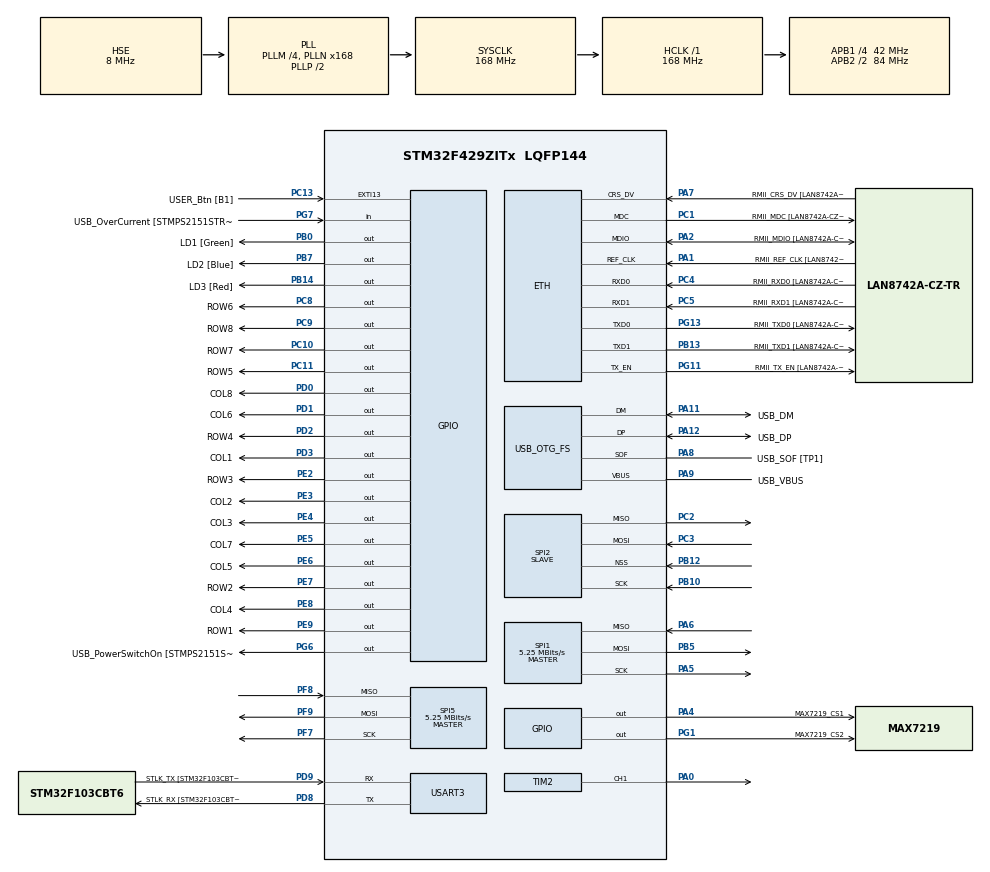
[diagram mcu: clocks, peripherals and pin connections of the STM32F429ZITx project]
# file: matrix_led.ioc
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ETH.MediaInterface=HAL_ETH_RMII_MODE
ETH.PHY_Name=LAN8742A_PHY_ADDRESS
ETH.PHY_Value=0
ETH.PhyAddress=0
FREERTOS.Tasks01=defaultTask,0,256,StartDefaultTask,Default,NULL,Dynamic,NULL,NULL;RearTask,2,128,StartRearTask,Default,NULL,Dynamic,NULL,NULL
Mcu.Family=STM32F4
Mcu.Name=STM32F429ZITx
Mcu.Package=LQFP144
NVIC.PriorityGroup=NVIC_PRIORITYGROUP_4
NVIC.SPI1_IRQn=true\:5\:0\:false\:false\:true\:true\:true\:true\:true
NVIC.SPI2_IRQn=true\:5\:0\:false\:false\:true\:true\:true\:true\:true
NVIC.TIM1_UP_TIM10_IRQn=true\:15\:0\:false\:false\:true\:false\:false\:true\:true
NVIC.TIM2_IRQn=true\:6\:0\:true\:false\:true\:true\:true\:true\:true
NVIC.TimeBase=TIM1_UP_TIM10_IRQn
NVIC.TimeBaseIP=TIM1
NVIC.USART3_IRQn=true\:6\:0\:true\:false\:true\:true\:true\:true\:true
PA0/WKUP.Signal=S_TIM2_CH1_ETR
PA1.GPIO_Label=RMII_REF_CLK [LAN8742A-CZ-TR_REFCLK0]
PA1.Mode=RMII
PA1.Signal=ETH_REF_CLK
PA10.GPIO_Label=USB_ID
PA10.Signal=USB_OTG_FS_ID
PA11.GPIO_Label=USB_DM
PA11.Mode=Device_Only
PA11.Signal=USB_OTG_FS_DM
PA12.GPIO_Label=USB_DP
PA12.Mode=Device_Only
PA12.Signal=USB_OTG_FS_DP
PA13.GPIO_Label=TMS
PA13.Mode=Serial_Wire
PA13.Signal=SYS_JTMS-SWDIO
PA14.GPIO_Label=TCK
PA14.Mode=Serial_Wire
PA14.Signal=SYS_JTCK-SWCLK
PA2.GPIO_Label=RMII_MDIO [LAN8742A-CZ-TR_MDIO]
PA2.Mode=RMII
PA2.Signal=ETH_MDIO
PA4.GPIO_Label=MAX7219_CS1
PA4.Signal=GPIO_Output
PA5.Mode=Full_Duplex_Master
PA5.Signal=SPI1_SCK
PA6.Mode=Full_Duplex_Master
PA6.Signal=SPI1_MISO
PA7.GPIO_Label=RMII_CRS_DV [LAN8742A-CZ-TR_CRS_DV]
PA7.Mode=RMII
PA7.Signal=ETH_CRS_DV
PA8.GPIO_Label=USB_SOF [TP1]
PA8.Mode=Activate_SOF_FS
PA8.Signal=USB_OTG_FS_SOF
PA9.GPIO_Label=USB_VBUS
PA9.Mode=Activate_VBUS
PA9.Signal=USB_OTG_FS_VBUS
PB0.GPIO_Label=LD1 [Green]
PB0.Signal=GPIO_Output
PB10.Mode=Full_Duplex_Slave
PB10.Signal=SPI2_SCK
PB12.Mode=NSS_Signal_Hard_Input
PB12.Signal=SPI2_NSS
PB13.GPIO_Label=RMII_TXD1 [LAN8742A-CZ-TR_TXD1]
PB13.Mode=RMII
PB13.Signal=ETH_TXD1
PB14.GPIO_Label=LD3 [Red]
PB14.Signal=GPIO_Output
PB5.Mode=Full_Duplex_Master
PB5.Signal=SPI1_MOSI
PB7.GPIO_Label=LD2 [Blue]
PB7.Signal=GPIO_Output
PC1.GPIO_Label=RMII_MDC [LAN8742A-CZ-TR_MDC]
PC1.Mode=RMII
PC1.Signal=ETH_MDC
PC10.GPIO_Label=ROW7
PC10.Signal=GPIO_Output
PC11.GPIO_Label=ROW5
PC11.Signal=GPIO_Output
PC13.GPIO_Label=USER_Btn [B1]
PC13.Signal=GPXTI13
PC14/OSC32_IN.Mode=LSE-External-Oscillator
PC14/OSC32_IN.Signal=RCC_OSC32_IN
PC15/OSC32_OUT.Mode=LSE-External-Oscillator
PC15/OSC32_OUT.Signal=RCC_OSC32_OUT
PC2.Mode=Full_Duplex_Slave
PC2.Signal=SPI2_MISO
PC3.Mode=Full_Duplex_Slave
PC3.Signal=SPI2_MOSI
PC4.GPIO_Label=RMII_RXD0 [LAN8742A-CZ-TR_RXD0]
PC4.Mode=RMII
PC4.Signal=ETH_RXD0
PC5.GPIO_Label=RMII_RXD1 [LAN8742A-CZ-TR_RXD1]
PC5.Mode=RMII
PC5.Signal=ETH_RXD1
PC8.GPIO_Label=ROW6
PC8.Signal=GPIO_Output
PC9.GPIO_Label=ROW8
PC9.Signal=GPIO_Output
PD0.GPIO_Label=COL8
PD0.Signal=GPIO_Output
PD1.GPIO_Label=COL6
PD1.Signal=GPIO_Output
PD2.GPIO_Label=ROW4
PD2.Signal=GPIO_Output
PD3.GPIO_Label=COL1
PD3.Signal=GPIO_Output
PD8.GPIO_Label=STLK_RX [STM32F103CBT6_PA3]
PD8.Mode=Asynchronous
PD8.Signal=USART3_TX
PD9.GPIO_Label=STLK_TX [STM32F103CBT6_PA2]
PD9.Mode=Asynchronous
PD9.Signal=USART3_RX
PE2.GPIO_Label=ROW3
PE2.Signal=GPIO_Output
PE3.GPIO_Label=COL2
PE3.Signal=GPIO_Output
PE4.GPIO_Label=COL3
PE4.Signal=GPIO_Output
PE5.GPIO_Label=COL7
PE5.Signal=GPIO_Output
PE6.GPIO_Label=COL5
PE6.Signal=GPIO_Output
PE7.GPIO_Label=ROW2
PE7.Signal=GPIO_Output
PE8.GPIO_Label=COL4
PE8.Signal=GPIO_Output
PE9.GPIO_Label=ROW1
PE9.Signal=GPIO_Output
PF7.Mode=Full_Duplex_Master
PF7.Signal=SPI5_SCK
PF8.Mode=Full_Duplex_Master
PF8.Signal=SPI5_MISO
PF9.Mode=Full_Duplex_Master
PF9.Signal=SPI5_MOSI
PG1.GPIO_Label=MAX7219_CS2
PG1.Signal=GPIO_Output
PG11.GPIO_Label=RMII_TX_EN [LAN8742A-CZ-TR_TXEN]
PG11.Mode=RMII
PG11.Signal=ETH_TX_EN
PG13.GPIO_Label=RMII_TXD0 [LAN8742A-CZ-TR_TXD0]
PG13.Mode=RMII
PG13.Signal=ETH_TXD0
PG6.GPIO_Label=USB_PowerSwitchOn [STMPS2151STR_EN]
PG6.Signal=GPIO_Output
PG7.GPIO_Label=USB_OverCurrent [STMPS2151STR_FAULT]
PG7.Signal=GPIO_Input
PH0/OSC_IN.GPIO_Label=MCO [STM32F103CBT6_PA8]
PH0/OSC_IN.Mode=HSE-External-Clock-Source
PH0/OSC_IN.Signal=RCC_OSC_IN
PH1/OSC_OUT.Mode=HSE-External-Clock-Source
PH1/OSC_OUT.Signal=RCC_OSC_OUT
ProjectManager.HeapSize=0x2000
ProjectManager.StackSize=0x4000
ProjectManager.TargetToolchain=STM32CubeIDE
RCC.48MHZClocksFreq_Value=48000000
RCC.AHBFreq_Value=168000000
RCC.APB1CLKDivider=RCC_HCLK_DIV4
RCC.APB1Freq_Value=42000000
RCC.APB1TimFreq_Value=84000000
RCC.APB2CLKDivider=RCC_HCLK_DIV2
RCC.APB2Freq_Value=84000000
RCC.APB2TimCLKDivider=2
RCC.APB2TimFreq_Value=168000000
RCC.CortexFreq_Value=168000000
RCC.HCLKFreq_Value=168000000
RCC.HSE_VALUE=8000000
RCC.HSI_VALUE=16000000
RCC.PLLM=4
RCC.PLLMUL=RCC_PLL_MUL9
RCC.PLLN=168
RCC.PLLQ=7
RCC.PRESCALERUSB=RCC_USBCLKSOURCE_PLL_DIV1_5
RCC.SYSCLKFreq_VALUE=168000000
RCC.SYSCLKSource=RCC_SYSCLKSOURCE_PLLCLK
RCC.SYSCLKSourceVirtual=RCC_SYSCLKSOURCE_PLLCLK
RCC.USBFreq_Value=48000000
RCC.VCOOutputFreq_Value=336000000
SH.S_TIM2_CH1_ETR.0=TIM2_CH1,Output Compare1 CH1
SPI1.BaudRatePrescaler=SPI_BAUDRATEPRESCALER_16
SPI1.CalculateBaudRate=5.25 MBits/s
SPI1.Direction=SPI_DIRECTION_2LINES
SPI1.Mode=SPI_MODE_MASTER
SPI1.VirtualType=VM_MASTER
SPI2.Direction=SPI_DIRECTION_2LINES
SPI2.Mode=SPI_MODE_SLAVE
SPI2.VirtualNSS=VM_NSSHARD
SPI2.VirtualType=VM_SLAVE
SPI5.BaudRatePrescaler=SPI_BAUDRATEPRESCALER_16
SPI5.CalculateBaudRate=5.25 MBits/s
SPI5.Direction=SPI_DIRECTION_2LINES
SPI5.Mode=SPI_MODE_MASTER
SPI5.VirtualType=VM_MASTER
TIM2.Channel-Output\ Compare1\ CH1=TIM_CHANNEL_1
TIM2.Period=999
TIM2.Prescaler=45-1
USART3.VirtualMode=VM_ASYNC
USB_OTG_FS.VirtualMode=Device_Only
VP_FREERTOS_VS_CMSIS_V1.Mode=CMSIS_V1
VP_SYS_VS_tim1.Mode=TIM1
VP_TIM2_VS_ClockSourceINT.Mode=Internal
board=NUCLEO-F429ZI

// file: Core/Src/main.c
/* USER CODE BEGIN Header */
/**
  ******************************************************************************
  * @file           : main.c
  * @brief          : Main program body
  ******************************************************************************
  * @attention
  *
  * Copyright (c) 2025 STMicroelectronics.
  * All rights reserved.
  *
  * This software is licensed under terms that can be found in the LICENSE file
  * in the root directory of this software component.
  * If no LICENSE file comes with this software, it is provided AS-IS.
  *
  ******************************************************************************
  */
/* USER CODE END Header */
#include "main.h"
#include "string.h"
#include "cmsis_os.h"

/* USER CODE BEGIN Includes */
#include "MAX7219.h"
#include "adb_system.h"
#include <string.h> // memset
#include <stdlib.h>
#include <stdio.h>
#include "rear_display.h"
/* USER CODE END Includes */

ETH_TxPacketConfig TxConfig;
ETH_DMADescTypeDef  DMARxDscrTab[ETH_RX_DESC_CNT]; /* Ethernet Rx DMA Descriptors */
ETH_DMADescTypeDef  DMATxDscrTab[ETH_TX_DESC_CNT]; /* Ethernet Tx DMA Descriptors */

ETH_HandleTypeDef heth;

SPI_HandleTypeDef hspi1;
SPI_HandleTypeDef hspi2;
SPI_HandleTypeDef hspi5;

TIM_HandleTypeDef htim2;

UART_HandleTypeDef huart3;

PCD_HandleTypeDef hpcd_USB_OTG_FS;

osThreadId defaultTaskHandle;
osThreadId RearTaskHandle;

void SystemClock_Config(void);
static void MX_GPIO_Init(void);
static void MX_ETH_Init(void);
static void MX_USART3_UART_Init(void);
static void MX_USB_OTG_FS_PCD_Init(void);
static void MX_TIM2_Init(void);
static void MX_SPI1_Init(void);
static void MX_SPI5_Init(void);
static void MX_SPI2_Init(void);
void StartDefaultTask(void const * argument);
void StartRearTask(void const * argument);

/* USER CODE BEGIN 0 */
//#define RX_BUFFER_SIZE 10
//uint8_t rx_data;                // 1바이트 수신 임시 변수
//char rx_buffer[RX_BUFFER_SIZE]; // 문자열 모으는 버퍼 ("320" 저장용)
//uint8_t rx_index = 0;
//volatile int data_ready = 0;
SPI_Packet_t rx_packet_spi;
volatile int spi_data_ready = 0;
/* USER CODE END 0 */

int main(void)
{

  /* MCU Configuration--------------------------------------------------------*/

  /* Reset of all peripherals, Initializes the Flash interface and the Systick. */
  HAL_Init();

  /* Configure the system clock */
  SystemClock_Config();

  /* Initialize all configured peripherals */
  MX_GPIO_Init();
  MX_ETH_Init();
  MX_USART3_UART_Init();
  MX_USB_OTG_FS_PCD_Init();
  MX_TIM2_Init();
  MX_SPI1_Init();
  MX_SPI5_Init();
  MX_SPI2_Init();
  /* USER CODE BEGIN 2 */
  ADB_Init(); // LED 전체 켜기 상태로 시작

      // UART 수신 인터럽트 시작
  //HAL_UART_Receive_IT(&huart3, &rx_data, 1);
  HAL_SPI_Receive_IT(&hspi2, (uint8_t*)&rx_packet_spi, PACKET_SIZE);

  /* USER CODE END 2 */

  /* Create the thread(s) */
  /* definition and creation of defaultTask */
  osThreadDef(defaultTask, StartDefaultTask, osPriorityNormal, 0, 256);
  defaultTaskHandle = osThreadCreate(osThread(defaultTask), NULL);

  /* definition and creation of RearTask */
  osThreadDef(RearTask, StartRearTask, osPriorityHigh, 0, 128);
  RearTaskHandle = osThreadCreate(osThread(RearTask), NULL);

  /* Start scheduler */
  osKernelStart();

  /* We should never get here as control is now taken by the scheduler */

  /* Infinite loop */
  while (1)
  {

  }
}

void SystemClock_Config(void)
{
  RCC_OscInitTypeDef RCC_OscInitStruct = {0};
  RCC_ClkInitTypeDef RCC_ClkInitStruct = {0};

  /** Configure the main internal regulator output voltage
  */
  __HAL_RCC_PWR_CLK_ENABLE();
  __HAL_PWR_VOLTAGESCALING_CONFIG(PWR_REGULATOR_VOLTAGE_SCALE1);

  /** Initializes the RCC Oscillators according to the specified parameters
  * in the RCC_OscInitTypeDef structure.
  */
  RCC_OscInitStruct.OscillatorType = RCC_OSCILLATORTYPE_HSE;
  RCC_OscInitStruct.HSEState = RCC_HSE_BYPASS;
  RCC_OscInitStruct.PLL.PLLState = RCC_PLL_ON;
  RCC_OscInitStruct.PLL.PLLSource = RCC_PLLSOURCE_HSE;
  RCC_OscInitStruct.PLL.PLLM = 4;
  RCC_OscInitStruct.PLL.PLLN = 168;
  RCC_OscInitStruct.PLL.PLLP = RCC_PLLP_DIV2;
  RCC_OscInitStruct.PLL.PLLQ = 7;
  if (HAL_RCC_OscConfig(&RCC_OscInitStruct) != HAL_OK)
  {
    Error_Handler();
  }

  /** Initializes the CPU, AHB and APB buses clocks
  */
  RCC_ClkInitStruct.ClockType = RCC_CLOCKTYPE_HCLK|RCC_CLOCKTYPE_SYSCLK
                              |RCC_CLOCKTYPE_PCLK1|RCC_CLOCKTYPE_PCLK2;
  RCC_ClkInitStruct.SYSCLKSource = RCC_SYSCLKSOURCE_PLLCLK;
  RCC_ClkInitStruct.AHBCLKDivider = RCC_SYSCLK_DIV1;
  RCC_ClkInitStruct.APB1CLKDivider = RCC_HCLK_DIV4;
  RCC_ClkInitStruct.APB2CLKDivider = RCC_HCLK_DIV2;

  if (HAL_RCC_ClockConfig(&RCC_ClkInitStruct, FLASH_LATENCY_5) != HAL_OK)
  {
    Error_Handler();
  }
}

static void MX_ETH_Init(void)
{

   static uint8_t MACAddr[6];

  heth.Instance = ETH;
  MACAddr[0] = 0x00;
  MACAddr[1] = 0x80;
  MACAddr[2] = 0xE1;
  MACAddr[3] = 0x00;
  MACAddr[4] = 0x00;
  MACAddr[5] = 0x00;
  heth.Init.MACAddr = &MACAddr[0];
  heth.Init.MediaInterface = HAL_ETH_RMII_MODE;
  heth.Init.TxDesc = DMATxDscrTab;
  heth.Init.RxDesc = DMARxDscrTab;
  heth.Init.RxBuffLen = 1524;

  if (HAL_ETH_Init(&heth) != HAL_OK)
  {
    Error_Handler();
  }

  memset(&TxConfig, 0 , sizeof(ETH_TxPacketConfig));
  TxConfig.Attributes = ETH_TX_PACKETS_FEATURES_CSUM | ETH_TX_PACKETS_FEATURES_CRCPAD;
  TxConfig.ChecksumCtrl = ETH_CHECKSUM_IPHDR_PAYLOAD_INSERT_PHDR_CALC;
  TxConfig.CRCPadCtrl = ETH_CRC_PAD_INSERT;

}

static void MX_SPI1_Init(void)
{

  /* SPI1 parameter configuration*/
  hspi1.Instance = SPI1;
  hspi1.Init.Mode = SPI_MODE_MASTER;
  hspi1.Init.Direction = SPI_DIRECTION_2LINES;
  hspi1.Init.DataSize = SPI_DATASIZE_8BIT;
  hspi1.Init.CLKPolarity = SPI_POLARITY_LOW;
  hspi1.Init.CLKPhase = SPI_PHASE_1EDGE;
  hspi1.Init.NSS = SPI_NSS_SOFT;
  hspi1.Init.BaudRatePrescaler = SPI_BAUDRATEPRESCALER_16;
  hspi1.Init.FirstBit = SPI_FIRSTBIT_MSB;
  hspi1.Init.TIMode = SPI_TIMODE_DISABLE;
  hspi1.Init.CRCCalculation = SPI_CRCCALCULATION_DISABLE;
  hspi1.Init.CRCPolynomial = 10;
  if (HAL_SPI_Init(&hspi1) != HAL_OK)
  {
    Error_Handler();
  }

}

static void MX_SPI2_Init(void)
{

  /* SPI2 parameter configuration*/
  hspi2.Instance = SPI2;
  hspi2.Init.Mode = SPI_MODE_SLAVE;
  hspi2.Init.Direction = SPI_DIRECTION_2LINES;
  hspi2.Init.DataSize = SPI_DATASIZE_8BIT;
  hspi2.Init.CLKPolarity = SPI_POLARITY_LOW;
  hspi2.Init.CLKPhase = SPI_PHASE_1EDGE;
  hspi2.Init.NSS = SPI_NSS_HARD_INPUT;
  hspi2.Init.FirstBit = SPI_FIRSTBIT_MSB;
  hspi2.Init.TIMode = SPI_TIMODE_DISABLE;
  hspi2.Init.CRCCalculation = SPI_CRCCALCULATION_DISABLE;
  hspi2.Init.CRCPolynomial = 10;
  if (HAL_SPI_Init(&hspi2) != HAL_OK)
  {
    Error_Handler();
  }

}

static void MX_SPI5_Init(void)
{

  /* SPI5 parameter configuration*/
  hspi5.Instance = SPI5;
  hspi5.Init.Mode = SPI_MODE_MASTER;
  hspi5.Init.Direction = SPI_DIRECTION_2LINES;
  hspi5.Init.DataSize = SPI_DATASIZE_8BIT;
  hspi5.Init.CLKPolarity = SPI_POLARITY_LOW;
  hspi5.Init.CLKPhase = SPI_PHASE_1EDGE;
  hspi5.Init.NSS = SPI_NSS_SOFT;
  hspi5.Init.BaudRatePrescaler = SPI_BAUDRATEPRESCALER_16;
  hspi5.Init.FirstBit = SPI_FIRSTBIT_MSB;
  hspi5.Init.TIMode = SPI_TIMODE_DISABLE;
  hspi5.Init.CRCCalculation = SPI_CRCCALCULATION_DISABLE;
  hspi5.Init.CRCPolynomial = 10;
  if (HAL_SPI_Init(&hspi5) != HAL_OK)
  {
    Error_Handler();
  }

}

static void MX_TIM2_Init(void)
{

  TIM_ClockConfigTypeDef sClockSourceConfig = {0};
  TIM_MasterConfigTypeDef sMasterConfig = {0};
  TIM_OC_InitTypeDef sConfigOC = {0};

  htim2.Instance = TIM2;
  htim2.Init.Prescaler = 45-1;
  htim2.Init.CounterMode = TIM_COUNTERMODE_UP;
  htim2.Init.Period = 999;
  htim2.Init.ClockDivision = TIM_CLOCKDIVISION_DIV1;
  htim2.Init.AutoReloadPreload = TIM_AUTORELOAD_PRELOAD_DISABLE;
  if (HAL_TIM_Base_Init(&htim2) != HAL_OK)
  {
    Error_Handler();
  }
  sClockSourceConfig.ClockSource = TIM_CLOCKSOURCE_INTERNAL;
  if (HAL_TIM_ConfigClockSource(&htim2, &sClockSourceConfig) != HAL_OK)
  {
    Error_Handler();
  }
  if (HAL_TIM_OC_Init(&htim2) != HAL_OK)
  {
    Error_Handler();
  }
  sMasterConfig.MasterOutputTrigger = TIM_TRGO_RESET;
  sMasterConfig.MasterSlaveMode = TIM_MASTERSLAVEMODE_DISABLE;
  if (HAL_TIMEx_MasterConfigSynchronization(&htim2, &sMasterConfig) != HAL_OK)
  {
    Error_Handler();
  }
  sConfigOC.OCMode = TIM_OCMODE_TIMING;
  sConfigOC.Pulse = 0;
  sConfigOC.OCPolarity = TIM_OCPOLARITY_HIGH;
  sConfigOC.OCFastMode = TIM_OCFAST_DISABLE;
  if (HAL_TIM_OC_ConfigChannel(&htim2, &sConfigOC, TIM_CHANNEL_1) != HAL_OK)
  {
    Error_Handler();
  }
  HAL_TIM_MspPostInit(&htim2);

}

static void MX_USART3_UART_Init(void)
{

  huart3.Instance = USART3;
  huart3.Init.BaudRate = 115200;
  huart3.Init.WordLength = UART_WORDLENGTH_8B;
  huart3.Init.StopBits = UART_STOPBITS_1;
  huart3.Init.Parity = UART_PARITY_NONE;
  huart3.Init.Mode = UART_MODE_TX_RX;
  huart3.Init.HwFlowCtl = UART_HWCONTROL_NONE;
  huart3.Init.OverSampling = UART_OVERSAMPLING_16;
  if (HAL_UART_Init(&huart3) != HAL_OK)
  {
    Error_Handler();
  }

}

static void MX_USB_OTG_FS_PCD_Init(void)
{

  hpcd_USB_OTG_FS.Instance = USB_OTG_FS;
  hpcd_USB_OTG_FS.Init.dev_endpoints = 4;
  hpcd_USB_OTG_FS.Init.speed = PCD_SPEED_FULL;
  hpcd_USB_OTG_FS.Init.dma_enable = DISABLE;
  hpcd_USB_OTG_FS.Init.phy_itface = PCD_PHY_EMBEDDED;
  hpcd_USB_OTG_FS.Init.Sof_enable = ENABLE;
  hpcd_USB_OTG_FS.Init.low_power_enable = DISABLE;
  hpcd_USB_OTG_FS.Init.lpm_enable = DISABLE;
  hpcd_USB_OTG_FS.Init.vbus_sensing_enable = ENABLE;
  hpcd_USB_OTG_FS.Init.use_dedicated_ep1 = DISABLE;
  if (HAL_PCD_Init(&hpcd_USB_OTG_FS) != HAL_OK)
  {
    Error_Handler();
  }

}

static void MX_GPIO_Init(void)
{
  GPIO_InitTypeDef GPIO_InitStruct = {0};

  /* GPIO Ports Clock Enable */
  __HAL_RCC_GPIOE_CLK_ENABLE();
  __HAL_RCC_GPIOC_CLK_ENABLE();
  __HAL_RCC_GPIOF_CLK_ENABLE();
  __HAL_RCC_GPIOH_CLK_ENABLE();
  __HAL_RCC_GPIOA_CLK_ENABLE();
  __HAL_RCC_GPIOB_CLK_ENABLE();
  __HAL_RCC_GPIOG_CLK_ENABLE();
  __HAL_RCC_GPIOD_CLK_ENABLE();

  /*Configure GPIO pin Output Level */
  HAL_GPIO_WritePin(GPIOE, ROW3_Pin|COL2_Pin|COL3_Pin|COL7_Pin
                          |COL5_Pin|ROW2_Pin|COL4_Pin|ROW1_Pin, GPIO_PIN_RESET);

  /*Configure GPIO pin Output Level */
  HAL_GPIO_WritePin(MAX7219_CS1_GPIO_Port, MAX7219_CS1_Pin, GPIO_PIN_RESET);

  /*Configure GPIO pin Output Level */
  HAL_GPIO_WritePin(GPIOB, LD1_Pin|LD3_Pin|LD2_Pin, GPIO_PIN_RESET);

  /*Configure GPIO pin Output Level */
  HAL_GPIO_WritePin(GPIOG, MAX7219_CS2_Pin|USB_PowerSwitchOn_Pin, GPIO_PIN_RESET);

  /*Configure GPIO pin Output Level */
  HAL_GPIO_WritePin(GPIOC, ROW6_Pin|ROW8_Pin|ROW7_Pin|ROW5_Pin, GPIO_PIN_RESET);

  /*Configure GPIO pin Output Level */
  HAL_GPIO_WritePin(GPIOD, COL8_Pin|COL6_Pin|ROW4_Pin|COL1_Pin, GPIO_PIN_RESET);

  /*Configure GPIO pins : ROW3_Pin COL2_Pin COL3_Pin COL7_Pin
                           COL5_Pin ROW2_Pin COL4_Pin ROW1_Pin */
  GPIO_InitStruct.Pin = ROW3_Pin|COL2_Pin|COL3_Pin|COL7_Pin
                          |COL5_Pin|ROW2_Pin|COL4_Pin|ROW1_Pin;
  GPIO_InitStruct.Mode = GPIO_MODE_OUTPUT_PP;
  GPIO_InitStruct.Pull = GPIO_NOPULL;
  GPIO_InitStruct.Speed = GPIO_SPEED_FREQ_LOW;
  HAL_GPIO_Init(GPIOE, &GPIO_InitStruct);

  /*Configure GPIO pin : USER_Btn_Pin */
  GPIO_InitStruct.Pin = USER_Btn_Pin;
  GPIO_InitStruct.Mode = GPIO_MODE_IT_RISING;
  GPIO_InitStruct.Pull = GPIO_NOPULL;
  HAL_GPIO_Init(USER_Btn_GPIO_Port, &GPIO_InitStruct);

  /*Configure GPIO pin : MAX7219_CS1_Pin */
  GPIO_InitStruct.Pin = MAX7219_CS1_Pin;
  GPIO_InitStruct.Mode = GPIO_MODE_OUTPUT_PP;
  GPIO_InitStruct.Pull = GPIO_NOPULL;
  GPIO_InitStruct.Speed = GPIO_SPEED_FREQ_LOW;
  HAL_GPIO_Init(MAX7219_CS1_GPIO_Port, &GPIO_InitStruct);

  /*Configure GPIO pins : LD1_Pin LD3_Pin LD2_Pin */
  GPIO_InitStruct.Pin = LD1_Pin|LD3_Pin|LD2_Pin;
  GPIO_InitStruct.Mode = GPIO_MODE_OUTPUT_PP;
  GPIO_InitStruct.Pull = GPIO_NOPULL;
  GPIO_InitStruct.Speed = GPIO_SPEED_FREQ_LOW;
  HAL_GPIO_Init(GPIOB, &GPIO_InitStruct);

  /*Configure GPIO pins : MAX7219_CS2_Pin USB_PowerSwitchOn_Pin */
  GPIO_InitStruct.Pin = MAX7219_CS2_Pin|USB_PowerSwitchOn_Pin;
  GPIO_InitStruct.Mode = GPIO_MODE_OUTPUT_PP;
  GPIO_InitStruct.Pull = GPIO_NOPULL;
  GPIO_InitStruct.Speed = GPIO_SPEED_FREQ_LOW;
  HAL_GPIO_Init(GPIOG, &GPIO_InitStruct);

  /*Configure GPIO pin : USB_OverCurrent_Pin */
  GPIO_InitStruct.Pin = USB_OverCurrent_Pin;
  GPIO_InitStruct.Mode = GPIO_MODE_INPUT;
  GPIO_InitStruct.Pull = GPIO_NOPULL;
  HAL_GPIO_Init(USB_OverCurrent_GPIO_Port, &GPIO_InitStruct);

  /*Configure GPIO pins : ROW6_Pin ROW8_Pin ROW7_Pin ROW5_Pin */
  GPIO_InitStruct.Pin = ROW6_Pin|ROW8_Pin|ROW7_Pin|ROW5_Pin;
  GPIO_InitStruct.Mode = GPIO_MODE_OUTPUT_PP;
  GPIO_InitStruct.Pull = GPIO_NOPULL;
  GPIO_InitStruct.Speed = GPIO_SPEED_FREQ_LOW;
  HAL_GPIO_Init(GPIOC, &GPIO_InitStruct);

  /*Configure GPIO pins : COL8_Pin COL6_Pin ROW4_Pin COL1_Pin */
  GPIO_InitStruct.Pin = COL8_Pin|COL6_Pin|ROW4_Pin|COL1_Pin;
  GPIO_InitStruct.Mode = GPIO_MODE_OUTPUT_PP;
  GPIO_InitStruct.Pull = GPIO_NOPULL;
  GPIO_InitStruct.Speed = GPIO_SPEED_FREQ_LOW;
  HAL_GPIO_Init(GPIOD, &GPIO_InitStruct);

  /* USER CODE BEGIN MX_GPIO_Init_2 */
  HAL_GPIO_WritePin(MAX7219_CS1_GPIO_Port, MAX7219_CS1_Pin, GPIO_PIN_SET);
  HAL_GPIO_WritePin(MAX7219_CS2_GPIO_Port, MAX7219_CS2_Pin, GPIO_PIN_SET);
  /* USER CODE END MX_GPIO_Init_2 */
}

/* USER CODE BEGIN 4 */
//void HAL_UART_RxCpltCallback(UART_HandleTypeDef *huart)
//{
//    if (huart->Instance == USART3) // 사용하는 UART 채널 확인
//    {
//    	HAL_UART_Transmit(&huart3, &rx_data, 1, 10);
//        // 1. 엔터키('\n' or '\r')가 들어오면 완료 신호 보냄
//        if (rx_data == '\n' || rx_data == '\r')
//        {
//        	if(rx_index > 0){
//        		rx_buffer[rx_index] = '\0'; // 문자열 끝 처리
//        		rx_index = 0;               // 인덱스 초기화
//        		data_ready = 1;             // ★ 태스크야, 일해라! (플래그 세움)
//        	}
//        }
//        else
//        {
//            if (rx_index < 10)
//            {
//                rx_buffer[rx_index++] = rx_data; // 버퍼에 담기
//            }
//        }
//
//        // 2. 다시 수신 대기 (필수!)
//        HAL_UART_Receive_IT(&huart3, &rx_data, 1);
//    }
//}
//int _write(int file, char *ptr, int len) {
//    HAL_UART_Transmit(&huart3, (uint8_t *)ptr, len, 10);
//    return len;
//}
static uint8_t xor_checksum(const uint8_t *p, size_t n) {
    uint8_t x = 0;
    for (size_t i = 0; i < n; i++) x ^= p[i];
    return x;
}
void HAL_SPI_RxCpltCallback(SPI_HandleTypeDef *hspi)
{
    if (hspi->Instance == SPI2)
    {
        // 0xAA 헤더 확인 및 체크섬
        if (rx_packet_spi.header == 0xAA) {
            uint8_t sum = xor_checksum((uint8_t*)&rx_packet_spi, PACKET_SIZE - 1);
            if (sum == rx_packet_spi.checksum) {
                spi_data_ready = 1;
            }
        }

        // ★ 다음 패킷 수신 대기 (송신 버퍼 없이 수신만)
        HAL_SPI_Receive_IT(&hspi2, (uint8_t*)&rx_packet_spi, PACKET_SIZE);
    }
}
/* USER CODE END 4 */

void StartDefaultTask(void const * argument)
{
  /* USER CODE BEGIN 5 */
  ADB_Init();
  MX_SPI2_Init();

  //송신 버퍼 없이 '수신'만 시작
  HAL_SPI_Receive_IT(&hspi2, (uint8_t*)&rx_packet_spi, PACKET_SIZE);

  // 마지막 데이터 받은 시간 저장 변수
  uint32_t last_rx_tick = HAL_GetTick();

  const uint32_t TIMEOUT_MS = 500;

  for(;;)
  {
      if (spi_data_ready == 1)
      {
          spi_data_ready = 0;

          last_rx_tick = HAL_GetTick();

          // 1. 데이터 파싱
          uint8_t obj_type = rx_packet_spi.class_ID;
          uint8_t direction = rx_packet_spi.detected;
          float dist_cm = rx_packet_spi.distance;

          float raw_x = rx_packet_spi.bbox_x;
          float raw_w = rx_packet_spi.bbox_w;

          int16_t center_x = (int16_t)(raw_x + (raw_w / 2.0f));

          static int8_t current_range = 1;

          if (dist_cm < 55.0f)
          {
              // [위험 구역] 아주 가까움 -> 5칸(Range 2)으로 확실히 가림
              current_range = 2;
          }
          else if (dist_cm >= 55.0f && dist_cm < 80.0f)
          {
              // [일반 구역] 적당한 거리 -> 3칸(Range 1)으로 줄임
              current_range = 1;
          }
          else if (dist_cm >= 80.0f)
          {
              // [안전 구역] 아주 멂 -> 1칸(Range 0)으로 핀포인트 제어
              // ★ 여기가 핵심! shadow 칸 0칸 (실제로는 중심 1칸만 꺼짐)
              current_range = 0;
          }
          //차량이면
          if(obj_type == 2)
          {
        	  if(direction == 0)
        	  {
        		  ADB_SetX(center_x, current_range);
        	  }
        	  else if(direction == 1)
        	  {
        		  RearDisplay_SetDistance(dist_cm);
        	  }

          }

      }

      //타임아웃 체크(5초)
      if((HAL_GetTick() - last_rx_tick) > TIMEOUT_MS)
      {
    	  ADB_SetX(-1,0);
    	  RearDisplay_SetDistance(100.0f);
      }

      osDelay(1);
  }
  /* USER CODE END 5 */
}

/* USER CODE BEGIN Header_StartRearTask */
/*
* @brief Function implementing the RearTask thread.
* @param argument: Not used
* @retval None
*/
/* USER CODE END Header_StartRearTask */
void StartRearTask(void const * argument)
{
  /* USER CODE BEGIN StartRearTask */
	RearDisplay_Init();

	RearDisplay_SetDistance(100.0f);
  /* Infinite loop */
  for(;;)
  {
	  RearDisplay_UpdateScan();

	  osDelay(1);
  }
  /* USER CODE END StartRearTask */
}

void HAL_TIM_PeriodElapsedCallback(TIM_HandleTypeDef *htim)
{
  if (htim->Instance == TIM1)
  {
    HAL_IncTick();
  }
}

void Error_Handler(void)
{
  __disable_irq();
  while (1)
  {
  }
}
